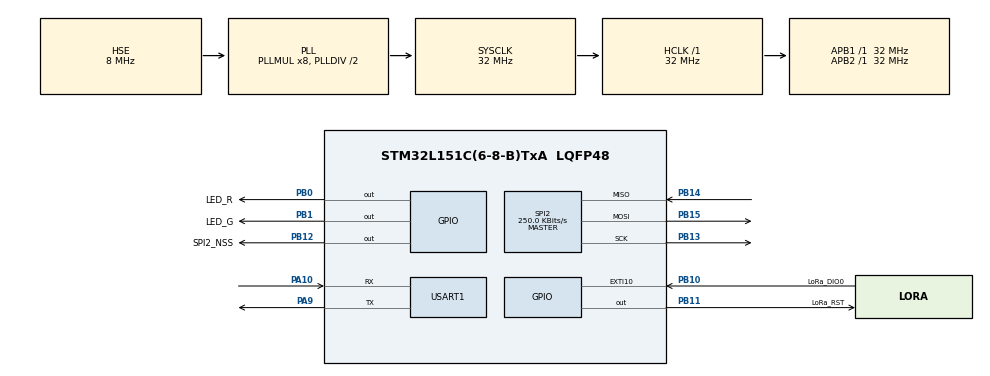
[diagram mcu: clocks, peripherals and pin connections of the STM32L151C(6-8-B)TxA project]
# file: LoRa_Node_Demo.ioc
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Mcu.Family=STM32L1
Mcu.Name=STM32L151C(6-8-B)TxA
Mcu.Package=LQFP48
NVIC.EXTI15_10_IRQn=true\:2\:0\:true\:false\:true\:true\:true
NVIC.PriorityGroup=NVIC_PRIORITYGROUP_4
PA10.Mode=Asynchronous
PA10.Signal=USART1_RX
PA13.Mode=Serial_Wire
PA13.Signal=SYS_JTMS-SWDIO
PA14.Mode=Serial_Wire
PA14.Signal=SYS_JTCK-SWCLK
PA9.Mode=Asynchronous
PA9.Signal=USART1_TX
PB0.GPIO_Label=LED_R
PB0.PinState=GPIO_PIN_RESET
PB0.Signal=GPIO_Output
PB1.GPIO_Label=LED_G
PB1.Signal=GPIO_Output
PB10.GPIO_Label=LoRa_DIO0
PB10.GPIO_ModeDefaultEXTI=GPIO_MODE_IT_RISING
PB10.Signal=GPXTI10
PB11.GPIO_Label=LoRa_RST
PB11.Signal=GPIO_Output
PB12.GPIO_Label=SPI2_NSS
PB12.Signal=GPIO_Output
PB13.Mode=Full_Duplex_Master
PB13.Signal=SPI2_SCK
PB14.Mode=Full_Duplex_Master
PB14.Signal=SPI2_MISO
PB15.Mode=Full_Duplex_Master
PB15.Signal=SPI2_MOSI
PC14-OSC32_IN.Mode=LSE-External-Oscillator
PC14-OSC32_IN.Signal=RCC_OSC32_IN
PC15-OSC32_OUT.Mode=LSE-External-Oscillator
PC15-OSC32_OUT.Signal=RCC_OSC32_OUT
PH0-OSC_IN.Mode=HSE-External-Oscillator
PH0-OSC_IN.Signal=RCC_OSC_IN
PH1-OSC_OUT.Mode=HSE-External-Oscillator
PH1-OSC_OUT.Signal=RCC_OSC_OUT
ProjectManager.HeapSize=0x200
ProjectManager.StackSize=0x400
ProjectManager.TargetToolchain=MDK-ARM V5
RCC.48MHZClocksFreq_Value=32000000
RCC.AHBFreq_Value=32000000
RCC.APB1Freq_Value=32000000
RCC.APB1TimFreq_Value=32000000
RCC.APB2Freq_Value=32000000
RCC.APB2TimFreq_Value=32000000
RCC.HCLKFreq_Value=32000000
RCC.HSE_VALUE=8000000
RCC.HSI_VALUE=16000000
RCC.MSI_VALUE=2097000
RCC.PLLMUL=RCC_PLL_MUL8
RCC.PLLSourceVirtual=RCC_PLLSOURCE_HSE
RCC.SYSCLKFreq_VALUE=32000000
RCC.SYSCLKSource=RCC_SYSCLKSOURCE_PLLCLK
RCC.VCOOutputFreq_Value=64000000
SPI2.BaudRatePrescaler=SPI_BAUDRATEPRESCALER_128
SPI2.CLKPhase=SPI_PHASE_2EDGE
SPI2.CLKPolarity=SPI_POLARITY_HIGH
SPI2.CRCCalculation=SPI_CRCCALCULATION_DISABLE
SPI2.CalculateBaudRate=250.0 KBits/s
SPI2.Direction=SPI_DIRECTION_2LINES
SPI2.Mode=SPI_MODE_MASTER
SPI2.VirtualType=VM_MASTER
USART1.VirtualMode=VM_ASYNC
board=custom

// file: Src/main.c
/* USER CODE BEGIN Header */
/**
  ******************************************************************************
  * @file           : main.c
  * @brief          : Main program body
  ******************************************************************************
  * @attention
  *
  * <h2><center>&copy; Copyright (c) 2021 STMicroelectronics.
  * All rights reserved.</center></h2>
  *
  * This software component is licensed by ST under BSD 3-Clause license,
  * the "License"; You may not use this file except in compliance with the
  * License. You may obtain a copy of the License at:
  *                        opensource.org/licenses/BSD-3-Clause
  *
  ******************************************************************************
  */
/* USER CODE END Header */

#include "main.h"
#include "spi.h"
#include "usart.h"
#include "gpio.h"

/* USER CODE BEGIN Includes */
#include "radio.h"
#include "sx1276Regs-Fsk.h"
#include "sx1276Regs-LoRa.h"
/* USER CODE END Includes */

/* USER CODE BEGIN PD */

#define GATEWAY_ID                                0x01
#define NODE_ID                                   0x00
#define FLAG                                      0x01
#define TEMPERATURE	                              0x14
#define HUMIDITY                                  0x50
#define BATTERY                                   0x63

#define RX_TIMEOUT_VALUE                            1000
#define LORA_BUFFER_SIZE                            64 // Define the payload size here

#define USE_BAND_433	//选择一个频率
#define USE_MODEM_LORA	//选择lora模式

#if defined( USE_BAND_433 )

#define RF_FREQUENCY                                434000000 // Hz

#elif defined( USE_BAND_780 )

#define RF_FREQUENCY                                780000000 // Hz

#elif defined( USE_BAND_868 )

#define RF_FREQUENCY                                868000000 // Hz

#elif defined( USE_BAND_915 )

#define RF_FREQUENCY                                915000000 // Hz

#else
    #error "Please define a frequency band in the compiler options."
#endif

#define TX_OUTPUT_POWER                             20        // dBm

#if defined( USE_MODEM_LORA )

#define LORA_BANDWIDTH                              0         /* 带宽       [0: 125 kHz,
                                                               *             1: 250 kHz,
                                                               *             2: 500 kHz,
                                                               *             3: Reserved]  */

#define LORA_SPREADING_FACTOR                       7         /* 扩频因子   [SF7..SF12]    */

#define LORA_CODINGRATE                             1         /* 编码率     [1: 4/5,
                                                               *             2: 4/6,
                                                               *             3: 4/7,
                                                               *             4: 4/8]       */

#define LORA_PREAMBLE_LENGTH                        8         /* 前导码长度 Tx 和 Rx 相同  */
#define LORA_SYMBOL_TIMEOUT                         5         // Symbols
#define LORA_FIX_LENGTH_PAYLOAD_ON                  false
#define LORA_IQ_INVERSION_ON                        false
#define LORA_CRC_ON                                 true
#define LORA_CRC_OFF                                false

#elif defined( USE_MODEM_FSK )

#define FSK_FDEV                                    25e3      // Hz
#define FSK_DATARATE                                50e3      // bps
#define FSK_BANDWIDTH                               50e3      // Hz
#define FSK_AFC_BANDWIDTH                           83.333e3  // Hz
#define FSK_PREAMBLE_LENGTH                         5         // Same for Tx and Rx
#define FSK_FIX_LENGTH_PAYLOAD_ON                   false

#else
    #error "Please define a modem in the compiler options."
#endif

#define MSG                            "{\"GateWayID\":1,\"NodeID\":0,\"Flag\":1,\"Temp\":20,\"Humi\":70,\"Battery\":100}"
#define MSG_LONG                       "1234567890abcdefghijk"
/* USER CODE END PD */

/* USER CODE BEGIN PV */
static RadioEvents_t RadioEvents;

u16 LoRaRxBufferSize = LORA_BUFFER_SIZE;
u8  LoRaRxBuffer[LORA_BUFFER_SIZE];

u8  LoRaTxBufferSize = LORA_BUFFER_SIZE;
u8  LoRaTxBuffer[LORA_BUFFER_SIZE];

s8 LoRa_Rx_RssiValue = 0; /* 接收的信号强度 */
s8 LoRa_Rx_SnrValue = 0;  /* 信噪比 */
/* USER CODE END PV */

void SystemClock_Config(void);
/* USER CODE BEGIN PFP */
void OnTxDone( void );
void OnRxDone( uint8_t *payload, uint16_t size, int16_t rssi, int8_t snr );
void OnTxTimeout( void );
void OnRxTimeout( void );
void OnRxError( void );
/* USER CODE END PFP */

int main(void)
{
  /* USER CODE BEGIN 1 */
	u16 regPaConfigInitVal = 0;

  /* USER CODE END 1 */

  /* MCU Configuration--------------------------------------------------------*/

  /* Reset of all peripherals, Initializes the Flash interface and the Systick. */
  HAL_Init();

  /* Configure the system clock */
  SystemClock_Config();

  /* Initialize all configured peripherals */
  MX_GPIO_Init();
  MX_SPI2_Init();
  MX_USART1_UART_Init();
  /* USER CODE BEGIN 2 */

	/* Radio initialization */
	/* 注册相关的回调函数 */
	RadioEvents.TxDone = OnTxDone;
	RadioEvents.RxDone = OnRxDone;
	RadioEvents.TxTimeout = OnTxTimeout;
	RadioEvents.RxTimeout = OnRxTimeout;
	RadioEvents.RxError = OnRxError;

	/* sx1276-board.c 中定义的全局变量 */
  Radio.Init( &RadioEvents );
	Radio.SetChannel( RF_FREQUENCY );

#if defined( USE_MODEM_LORA )

	/*
	 * LoRa模式
	 * 发射功率 20 dBm
	 * (LoRa无)
	 * 带宽
	 * 扩频因子
	 * 纠错编码率
	 * 前导码长度 8
	 * 显式报头
	 * CRC开启
	 * 跳频 关闭
	 * 跳频周期 0
	 *
	 *
	 * 发送超时时间 3000
	 */
  Radio.SetTxConfig( MODEM_LORA, TX_OUTPUT_POWER, 0, LORA_BANDWIDTH,
                                   LORA_SPREADING_FACTOR, LORA_CODINGRATE,
                                   LORA_PREAMBLE_LENGTH, LORA_FIX_LENGTH_PAYLOAD_ON,
                                   true, 0, 0, LORA_IQ_INVERSION_ON, 3000 );
	/*
	 * LoRa模式
	 * 带宽
	 * 扩频因子 7
	 * 纠错编码率
	 * (LoRa无)
	 * 前导码长度 8
	 * 接收超时时间 5
	 * 显式报头
	 * 负载长度 ***
	 * CRC关闭
	 * 跳频 关闭
	 * 跳频周期 0
	 *
	 * 持续/单一接收模式
	 */
  Radio.SetRxConfig( MODEM_LORA, LORA_BANDWIDTH, LORA_SPREADING_FACTOR,
                                   LORA_CODINGRATE, 0, LORA_PREAMBLE_LENGTH,
                                   LORA_SYMBOL_TIMEOUT, LORA_FIX_LENGTH_PAYLOAD_ON,
                                   0, LORA_CRC_OFF, 0, 0, LORA_IQ_INVERSION_ON, true );
#endif

	regPaConfigInitVal = SX1276Read( 0x42 );

	memset(LoRaTxBuffer,0,LoRaTxBufferSize);

	LoRaTxBuffer[0] = GATEWAY_ID;
	LoRaTxBuffer[1] = NODE_ID;
	LoRaTxBuffer[2] = FLAG;
	LoRaTxBuffer[3] = TEMPERATURE;
	LoRaTxBuffer[4] = HUMIDITY;
	LoRaTxBuffer[5] = BATTERY;

  /* USER CODE END 2 */

  /* Infinite loop */
  /* USER CODE BEGIN WHILE */
	u8 TxFlag = 0;
  while (1)
  {
    /* USER CODE END WHILE */

    /* USER CODE BEGIN 3 */
		if (regPaConfigInitVal == 0x12) {
			HAL_GPIO_TogglePin(GPIOB, GPIO_PIN_0);
		}

		if(TxFlag >= 6) {
			TxFlag = 0;
			HAL_GPIO_TogglePin(GPIOB, GPIO_PIN_1);
			Radio.Send( (uint8_t *)LoRaTxBuffer, 6 );
		}
		TxFlag++;
		HAL_Delay(1000);
  }
  /* USER CODE END 3 */
}

void SystemClock_Config(void)
{
  RCC_OscInitTypeDef RCC_OscInitStruct = {0};
  RCC_ClkInitTypeDef RCC_ClkInitStruct = {0};

  /** Configure the main internal regulator output voltage
  */
  __HAL_PWR_VOLTAGESCALING_CONFIG(PWR_REGULATOR_VOLTAGE_SCALE1);
  /** Initializes the CPU, AHB and APB busses clocks
  */
  RCC_OscInitStruct.OscillatorType = RCC_OSCILLATORTYPE_HSE;
  RCC_OscInitStruct.HSEState = RCC_HSE_ON;
  RCC_OscInitStruct.PLL.PLLState = RCC_PLL_ON;
  RCC_OscInitStruct.PLL.PLLSource = RCC_PLLSOURCE_HSE;
  RCC_OscInitStruct.PLL.PLLMUL = RCC_PLL_MUL8;
  RCC_OscInitStruct.PLL.PLLDIV = RCC_PLL_DIV2;
  if (HAL_RCC_OscConfig(&RCC_OscInitStruct) != HAL_OK)
  {
    Error_Handler();
  }
  /** Initializes the CPU, AHB and APB busses clocks
  */
  RCC_ClkInitStruct.ClockType = RCC_CLOCKTYPE_HCLK|RCC_CLOCKTYPE_SYSCLK
                              |RCC_CLOCKTYPE_PCLK1|RCC_CLOCKTYPE_PCLK2;
  RCC_ClkInitStruct.SYSCLKSource = RCC_SYSCLKSOURCE_PLLCLK;
  RCC_ClkInitStruct.AHBCLKDivider = RCC_SYSCLK_DIV1;
  RCC_ClkInitStruct.APB1CLKDivider = RCC_HCLK_DIV1;
  RCC_ClkInitStruct.APB2CLKDivider = RCC_HCLK_DIV1;

  if (HAL_RCC_ClockConfig(&RCC_ClkInitStruct, FLASH_LATENCY_1) != HAL_OK)
  {
    Error_Handler();
  }
}

/* USER CODE BEGIN 4 */
void OnTxDone( void )
{
	Radio.Sleep( );
	printf("TxDone\r\n");
}

void OnRxDone( uint8_t *payload, uint16_t size, int16_t rssi, int8_t snr )
{
	static bool ledStatus=false;
	Radio.Sleep( );
	memset(LoRaRxBuffer,0,LoRaRxBufferSize);
	LoRaRxBufferSize = size;
	memcpy( LoRaRxBuffer, payload, LoRaRxBufferSize );
	LoRa_Rx_RssiValue = rssi;                    /* 接收的信号强度 */
	LoRa_Rx_SnrValue = snr;                      /* 信噪比 */
	printf("\r\n RxDone\r\n rssi:%d\r\n snr:%d\r\n size:%d\r\n payload:%s\r\n",rssi,snr,size,payload);

	HAL_GPIO_WritePin(GPIOB, GPIO_PIN_0, GPIO_PIN_RESET);

	if ( strncmp( ( const char* )LoRaRxBuffer, ( const char* )"led", 3 ) == 0 ) {
//		LED1 =! LED1;
	}

	Radio.Rx( RX_TIMEOUT_VALUE );
}

void OnTxTimeout( void )
{
	Radio.Sleep( );
	printf("TxTIMEOUT\r\n");
}

void OnRxTimeout( void )
{
	Radio.Sleep( );
	printf("RxTIMEOUT retry recive\r\n");
//	Radio.Rx( RX_TIMEOUT_VALUE );
}

void OnRxError( void )
{
	Radio.Sleep( );
	printf("RxError  retry recive\r\n");
//	Radio.Rx( RX_TIMEOUT_VALUE );
}

/* USER CODE END 4 */

void Error_Handler(void)
{
}

/************************ (C) COPYRIGHT STMicroelectronics *****END OF FILE****/
